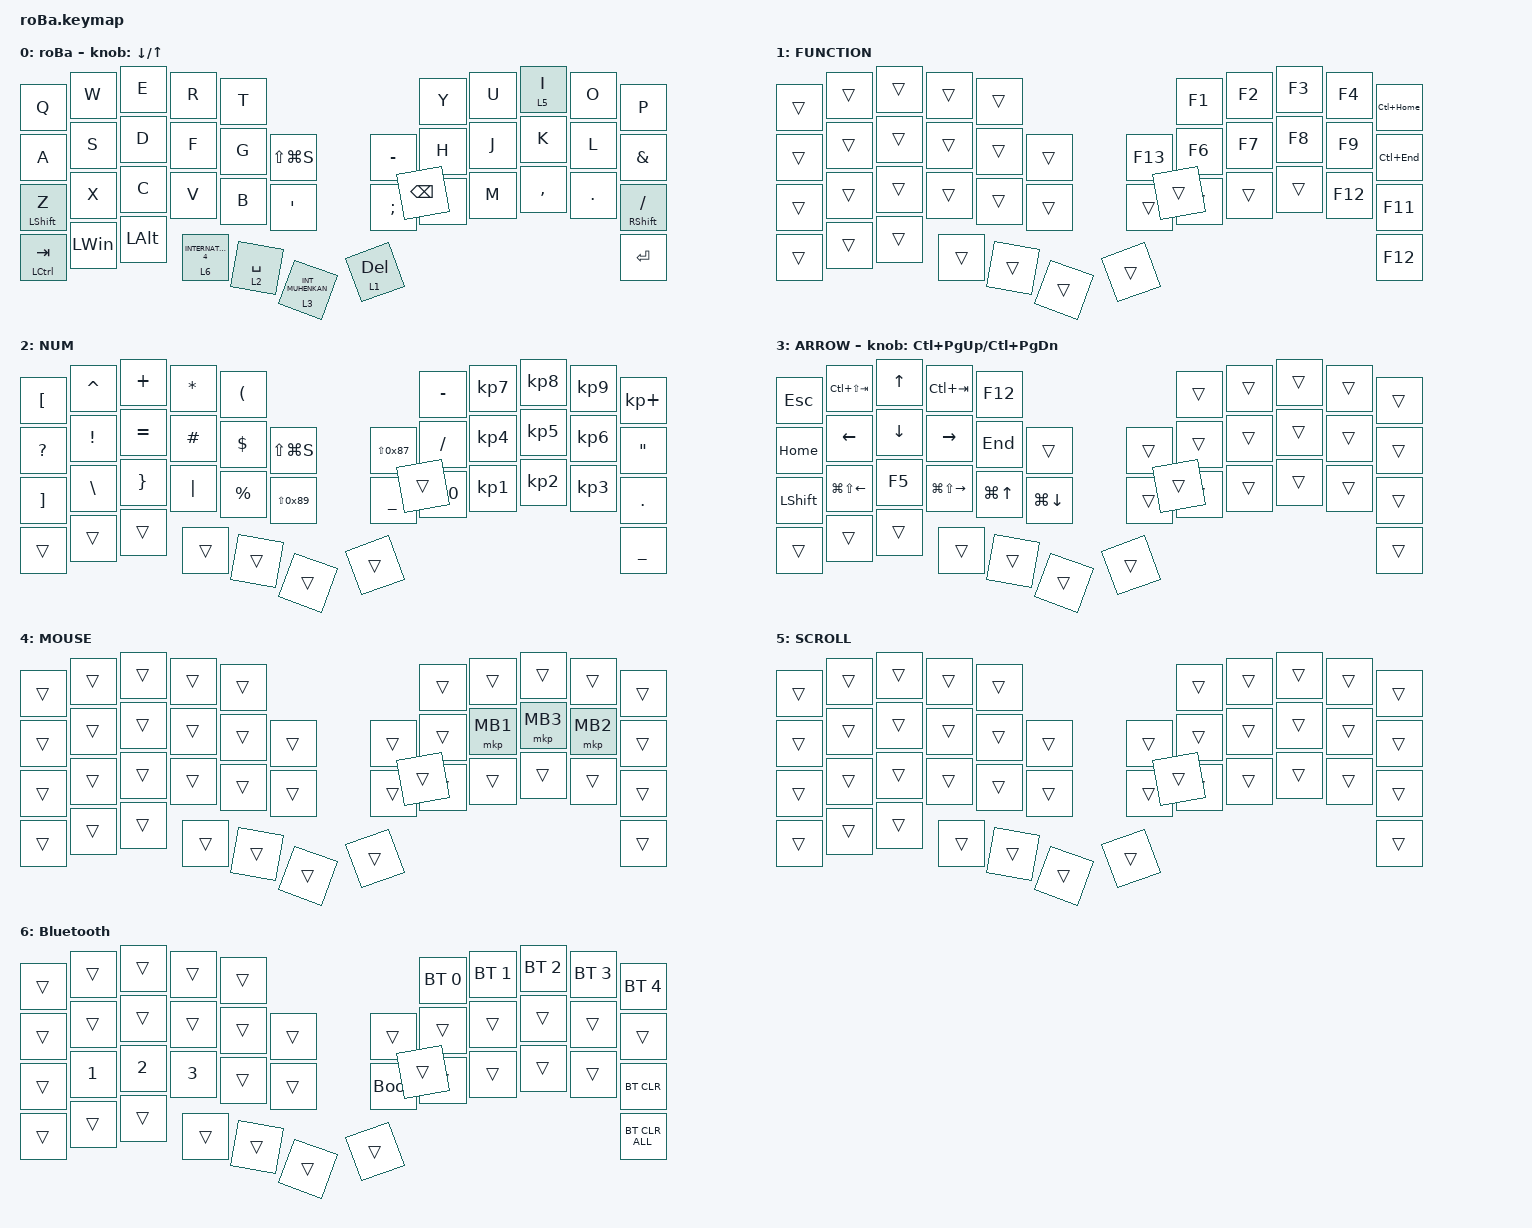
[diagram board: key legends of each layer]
// OS設定を日本語キーボードのまま使用するための変換定義

#define JP_DQUOTE       AT                // "
#define JP_AMPERSAND    CARET             // &
#define JP_QUOTE        AMPERSAND         // '
#define JP_EQUAL        UNDER             // =
#define JP_CARET        EQUAL             // ^
#define JP_YEN          0x89              // ¥
#define JP_PLUS         COLON             // +
#define JP_TILDE        PLUS              // ~
#define JP_PIPE         LS(0x89)          // |
#define JP_AT           LEFT_BRACKET      // @
#define JP_COLON        SINGLE_QUOTE      // :
#define JP_ASTERISK     DOUBLE_QUOTES     // *
#define JP_BACKQUOTE    LEFT_BRACE        // `
#define JP_UNDERSCORE   LS(0x87)          // _
#define JP_LBRACKET     RIGHT_BRACKET     // [
#define JP_RBRACKET     BACKSLASH         // ]
#define JP_LPAREN       ASTERISK          // (
#define JP_RPAREN       LEFT_PARENTHESIS  // )
#define JP_LBRACE       RIGHT_BRACE       // {
#define JP_RBRACE       PIPE              // }
#define JP_KANA         LANGUAGE_1        // かな
#define JP_EISU         LANGUAGE_2        // 英数
#define JP_HANZEN       GRAVE             // 半角/全角
#define ZMK_POINTING_DEFAULT_SCRL_VAL 750

#include <input/processors.dtsi>
#include <dt-bindings/zmk/input_transform.h>
#include <zephyr/dt-bindings/input/input-event-codes.h>
#include <behaviors.dtsi>
#include <dt-bindings/zmk/bt.h>
#include <dt-bindings/zmk/keys.h>
#include <dt-bindings/zmk/pointing.h>

&mt {
    flavor = "balanced";
    quick-tap-ms = <0>;
};

#define MOUSE 4

// AMLから離脱しないキー

&zip_temp_layer {
    require-prior-idle-ms = <400>;
    excluded-positions = <
        18 // J 左クリック
        19 // K 左クリック
        20 // L 左クリック
    >;
};

/ {
    input_processors {
        zip_scroll_x_scaler: zip_scroll_x_scaler {
            compatible = "zmk,input-processor-scaler";
            #input-processor-cells = <2>;
            type = <INPUT_EV_REL>;
            codes = <INPUT_REL_HWHEEL>;
            track-remainders;
        };

        zip_scroll_y_scaler: zip_scroll_y_scaler {
            compatible = "zmk,input-processor-scaler";
            #input-processor-cells = <2>;
            type = <INPUT_EV_REL>;
            codes = <INPUT_REL_WHEEL>;
            track-remainders;
        };
    };
};

&trackball_listener {
    compatible = "zmk,input-listener";
    input-processors = <
        &zip_xy_transform (INPUT_TRANSFORM_XY_SWAP) // カーソルの移動方向調整
        &zip_xy_scaler 6 6 // カーソル移動量6/6倍
        &zip_temp_layer 4 10000
    >;

    scroller_y {
        layers = <4>; // 縦スクロールレイヤー
        input-processors = <
            &zip_xy_transform (INPUT_TRANSFORM_XY_SWAP | INPUT_TRANSFORM_Y_INVERT) // スクロール方向調整
            &zip_xy_to_scroll_mapper
            &zip_scroll_x_scaler 0 3 // X軸スクロール量0/3倍
            &zip_scroll_y_scaler 3 3 // Y軸スクロール量1/3倍
        >;

        process-next;
    };
};

/ {
    combos {
        compatible = "zmk,combos";

        tab {
            bindings = <&kp TAB>;
            key-positions = <11 12>;
        };

        shift_tab {
            bindings = <&kp LS(TAB)>;
            key-positions = <12 13>;
        };

        muhennkann {
            bindings = <&to_layer_0 INT_MUHENKAN>;
            key-positions = <11 10>;
        };

        double_quotation {
            bindings = <&kp JP_DQUOTE>;
            key-positions = <20 21>;
        };

        eq {
            bindings = <&kp EQUAL>;
            key-positions = <24 25>;
        };
    };

    macros {
        to_layer_0: to_layer_0 {
            compatible = "zmk,behavior-macro-one-param";
            #binding-cells = <1>;
            bindings = <&to 0 &macro_param_1to1 &kp MACRO_PLACEHOLDER>;
            label = "TO_LAYER_0";
        };
    };

    behaviors {
        lt_to_layer_0: lt_to_layer_0 {
            compatible = "zmk,behavior-hold-tap";
            label = "LAYER_TAP_TO_0";
            bindings = <&mo>, <&to_layer_0>;

            #binding-cells = <2>;
            tapping-term-ms = <200>;
        };
    };

    keymap {
        compatible = "zmk,keymap";

        default_layer {
            display-name = "roBa";
            bindings = <
&kp Q             &kp W         &kp E         &kp R                             &kp T                                                          &kp Y          &kp U  &lt 5 I    &kp O    &kp P
&kp A             &kp S         &kp D         &kp F                             &kp G        &kp LS(LG(S))                      &kp MINUS      &kp H          &kp J  &kp K      &kp L    &kp JP_QUOTE
&mt LEFT_SHIFT Z  &kp X         &kp C         &kp V                             &kp B        &kp JP_COLON                       &kp SEMICOLON  &kp N          &kp M  &kp COMMA  &kp DOT  &mt RIGHT_SHIFT SLASH
&mt LCTRL TAB     &kp LEFT_WIN  &kp LEFT_ALT  &lt_to_layer_0 6 INTERNATIONAL_4  &lt 2 SPACE  &lt_to_layer_0 3 INT_MUHENKAN      &lt 1 DELETE   &kp BACKSPACE                             &kp ENTER
            >;

            sensor-bindings = <&inc_dec_kp DOWN_ARROW UP_ARROW>;
        };

        FUNCTION {
            display-name = "FUNCTION";
            bindings = <
&trans  &trans  &trans  &trans  &trans                       &kp F1  &kp F2  &kp F3  &kp F4   &kp LC(HOME)
&trans  &trans  &trans  &trans  &trans  &trans      &kp F13  &kp F6  &kp F7  &kp F8  &kp F9   &kp LC(END)
&trans  &trans  &trans  &trans  &trans  &trans      &trans   &trans  &trans  &trans  &kp F12  &kp F11
&trans  &trans  &trans  &trans  &trans  &trans      &trans   &trans                           &kp F12
            >;
        };

        NUM {
            display-name = "NUM";
            bindings = <
&kp JP_AT        &kp JP_AMPERSAND  &kp JP_TILDE   &kp JP_LPAREN  &kp JP_RPAREN                                        &kp MINUS        &kp KP_NUMBER_7  &kp KP_NUMBER_8  &kp KP_NUMBER_9  &kp KP_PLUS
&kp QUESTION     &kp EXCL          &kp JP_CARET   &kp HASH       &kp DOLLAR     &kp LS(LG(S))      &kp JP_UNDERSCORE  &kp SLASH        &kp KP_NUMBER_4  &kp KP_NUMBER_5  &kp KP_NUMBER_6  &kp JP_ASTERISK
&kp JP_LBRACKET  &kp JP_RBRACKET   &kp JP_LBRACE  &kp JP_RBRACE  &kp PRCNT      &kp JP_PIPE        &kp UNDERSCORE     &kp KP_NUMBER_0  &kp KP_NUMBER_1  &kp KP_NUMBER_2  &kp KP_NUMBER_3  &kp PERIOD
&trans           &trans            &trans         &trans         &trans         &trans             &trans             &trans                                                              &kp JP_EQUAL
            >;
        };

        ARROW {
            display-name = "ARROW";
            bindings = <
&kp ESCAPE      &kp LC(LS(TAB))         &kp UP_ARROW    &kp LC(TAB)              &kp F12                                           &trans  &trans  &trans  &trans  &trans
&kp HOME        &kp LEFT_ARROW          &kp DOWN_ARROW  &kp RIGHT_ARROW          &kp END           &trans                  &trans  &trans  &trans  &trans  &trans  &trans
&kp LEFT_SHIFT  &kp LG(LS(LEFT_ARROW))  &kp F5          &kp LG(LS(RIGHT_ARROW))  &kp LG(UP_ARROW)  &kp LG(DOWN_ARROW)      &trans  &trans  &trans  &trans  &trans  &trans
&trans          &trans                  &trans          &trans                   &trans            &trans                  &trans  &trans                          &trans
            >;

            sensor-bindings = <&inc_dec_kp LC(PAGE_UP) LC(PAGE_DOWN)>;
        };

        MOUSE {
            display-name = "MOUSE";
            bindings = <
&trans  &trans  &trans  &trans  &trans                      &trans  &trans    &trans    &trans    &trans
&trans  &trans  &trans  &trans  &trans  &trans      &trans  &trans  &mkp MB1  &mkp MB3  &mkp MB2  &trans
&trans  &trans  &trans  &trans  &trans  &trans      &trans  &trans  &trans    &trans    &trans    &trans
&trans  &trans  &trans  &trans  &trans  &trans      &trans  &trans                                &trans
            >;
        };

        SCROLL {
            display-name = "SCROLL";
            bindings = <
&trans  &trans  &trans  &trans  &trans                      &trans  &trans  &trans  &trans  &trans
&trans  &trans  &trans  &trans  &trans  &trans      &trans  &trans  &trans  &trans  &trans  &trans
&trans  &trans  &trans  &trans  &trans  &trans      &trans  &trans  &trans  &trans  &trans  &trans
&trans  &trans  &trans  &trans  &trans  &trans      &trans  &trans                          &trans
            >;
        };

        layer_6 {
            display-name = "Bluetooth";
            bindings = <
&trans  &trans        &trans        &trans        &trans                           &bt BT_SEL 0  &bt BT_SEL 1  &bt BT_SEL 2  &bt BT_SEL 3  &bt BT_SEL 4
&trans  &trans        &trans        &trans        &trans  &trans      &trans       &trans        &trans        &trans        &trans        &trans
&trans  &kp NUMBER_1  &kp NUMBER_2  &kp NUMBER_3  &trans  &trans      &bootloader  &trans        &trans        &trans        &trans        &bt BT_CLR
&trans  &trans        &trans        &trans        &trans  &trans      &trans       &trans                                                  &bt BT_CLR_ALL
            >;
        };
    };
};
